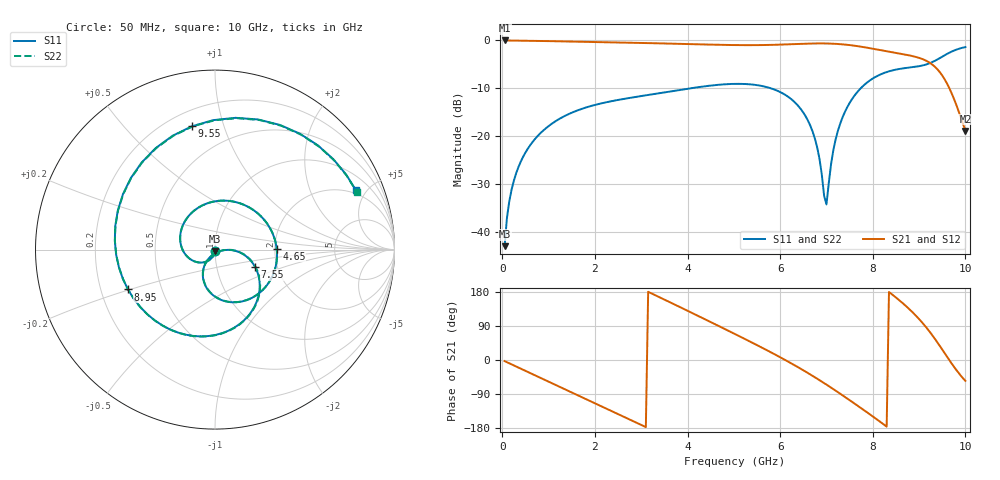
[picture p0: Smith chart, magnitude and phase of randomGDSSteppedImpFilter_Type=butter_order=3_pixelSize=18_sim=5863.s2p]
! freq	dB(S11)	phase(S11)	dB(S12)	phase(S12)
!  dB(S21)	phase(S21)	dB(S22)	phase(S22)
!S-par simulation data
#  GHz  S  DB  R 50
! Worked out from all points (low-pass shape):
!   200 points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, 50 MHz to 10 GHz, reference 50 ohm
!   highest |S21| = -0.01 dB at 50 MHz (marker M1); lowest = -18.9 dB at 10 GHz (marker M2)
!   |S21| within 3 dB of the highest: start of sweep to 8.729 GHz
!   lowest |S11| = -43.0 dB at 50 MHz (marker M3), VSWR 1.01, Z = 50 - j0.711 ohm
!   |S11| at or under -10 dB: start of sweep to 4.06 GHz; 5.801 GHz to 7.739 GHz (1.938 GHz wide, 28.6 % of centre)
!   |S22| runs from -43.0 to -1.4 dB; largest |S21 - S12| = 0
!   S11 on the Smith chart (normalised r, x): 50 MHz: 1.00, -0.01; 4.65 GHz: 2.05, +0.03; 7.55 GHz: 1.54, -0.31; 8.95 GHz: 0.32, -0.20; 9.55 GHz: 0.29, +0.79; 10 GHz: 1.75, +4.24
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0.05  -42.96 -91.3  -0.01 -2.9  -0.01 -2.9  -42.96 -91.3
0.2  -31.18 -101.1  -0.02 -11.5  -0.02 -11.5  -31.18 -101.1
0.5  -23.41 -119.1  -0.06 -28.7  -0.06 -28.7  -23.41 -119.1
1.15  -16.86 -156.5  -0.17 -65.7  -0.17 -65.7  -16.86 -156.5
1.75  -14.18 169.3  -0.29 -99.7  -0.29 -99.7  -14.18 169.3
2.65  -12.17 117.8  -0.46 -151.1  -0.46 -151.1  -12.17 117.9
3.4  -11.00 74.4  -0.61 165.3  -0.61 165.3  -11.00 74.6
4.05  -10.01 36.4  -0.77 127.0  -0.77 127.0  -10.01 36.6
4.65  -9.28 1.0  -0.91 91.1  -0.91 91.1  -9.28 1.4
5.05  -9.07 -22.7  -0.97 67.0  -0.97 67.0  -9.06 -22.3
5.95  -10.55 -77.4  -0.89 10.6  -0.89 10.6  -10.55 -76.9
6.7  -19.00 -122.9  -0.64 -41.8  -0.64 -41.8  -19.00 -122.4
7  -34.24 -48.4  -0.64 -64.9  -0.64 -64.9  -34.22 -47.7
7.2  -20.59 -1.7  -0.71 -81.0  -0.71 -81.0  -20.58 -1.1
7.55  -12.28 -23.3  -1.03 -110.2  -1.03 -110.2  -12.27 -22.7
7.95  -8.27 -55.2  -1.64 -144.5  -1.64 -144.5  -8.26 -54.5
8.35  -6.45 -89.9  -2.34 179.5  -2.34 179.5  -6.44 -89.3
8.95  -5.46 -155.4  -3.50 114.6  -3.50 114.6  -5.47 -154.9
9.3  -4.46 149.0  -5.15 62.9  -5.15 62.9  -4.47 148.8
9.55  -3.11 100.6  -8.08 18.4  -8.08 18.4  -3.12 100.0
9.75  -2.12 62.5  -12.12 -17.3  -12.12 -17.3  -2.13 61.7
10  -1.39 22.9  -18.90 -54.9  -18.90 -54.9  -1.39 22.2
